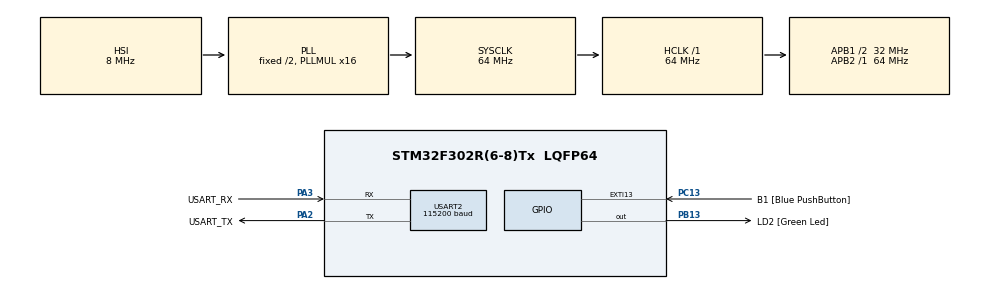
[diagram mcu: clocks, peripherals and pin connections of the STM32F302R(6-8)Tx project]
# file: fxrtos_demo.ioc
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ADC1.Channel-0\#ChannelRegularConversion=ADC_CHANNEL_TEMPSENSOR
ADC1.ContinuousConvMode=ENABLE
ADC1.NbrOfConversionFlag=1
ADC1.Offset-0\#ChannelRegularConversion=0
ADC1.OffsetNumber-0\#ChannelRegularConversion=ADC_OFFSET_NONE
ADC1.Rank-0\#ChannelRegularConversion=1
ADC1.SamplingTime-0\#ChannelRegularConversion=ADC_SAMPLETIME_19CYCLES_5
ADC1.SamplingTimeOPAMP-0\#ChannelRegularConversion=ADC_SAMPLETIME_61CYCLES_5
ADC1.SubFamily=STM32F302x8
ADC1.master=1
Mcu.Family=STM32F3
Mcu.Name=STM32F302R(6-8)Tx
Mcu.Package=LQFP64
NVIC.EXTI15_10_IRQn=true\:0\:0\:false\:false\:true\:true\:true\:true
NVIC.PriorityGroup=NVIC_PRIORITYGROUP_0
NVIC.TIM2_IRQn=true\:0\:0\:false\:false\:true\:true\:true\:true
PA13.GPIO_Label=TMS
PA13.Mode=Trace_Asynchronous_SW
PA13.Signal=SYS_JTMS-SWDIO
PA14.GPIO_Label=TCK
PA14.Mode=Trace_Asynchronous_SW
PA14.Signal=SYS_JTCK-SWCLK
PA2.GPIO_Label=USART_TX
PA2.GPIO_Mode=GPIO_MODE_AF_PP
PA2.GPIO_PuPd=GPIO_NOPULL
PA2.GPIO_Speed=GPIO_SPEED_FREQ_LOW
PA2.Mode=Asynchronous
PA2.Signal=USART2_TX
PA3.GPIO_Label=USART_RX
PA3.GPIO_Mode=GPIO_MODE_AF_PP
PA3.GPIO_PuPd=GPIO_NOPULL
PA3.GPIO_Speed=GPIO_SPEED_FREQ_LOW
PA3.Mode=Asynchronous
PA3.Signal=USART2_RX
PB13.GPIO_Label=LD2 [Green Led]
PB13.Signal=GPIO_Output
PB3.GPIO_Label=SWO
PB3.Mode=Trace_Asynchronous_SW
PB3.Signal=SYS_JTDO-TRACESWO
PC13.GPIO_Label=B1 [Blue PushButton]
PC13.GPIO_ModeDefaultEXTI=GPIO_MODE_IT_FALLING
PC13.Signal=GPXTI13
PC14\ -\ OSC32_IN.Mode=LSE-External-Oscillator
PC14\ -\ OSC32_IN.Signal=RCC_OSC32_IN
PC15\ -\ OSC32_OUT.Mode=LSE-External-Oscillator
PC15\ -\ OSC32_OUT.Signal=RCC_OSC32_OUT
PF0-OSC_IN.Mode=HSE-External-Clock-Source
PF0-OSC_IN.Signal=RCC_OSC_IN
PF1-OSC_OUT.Signal=RCC_OSC_OUT
ProjectManager.HeapSize=0x200
ProjectManager.StackSize=0x400
ProjectManager.TargetToolchain=STM32CubeIDE
RCC.AHBFreq_Value=64000000
RCC.APB1CLKDivider=RCC_HCLK_DIV2
RCC.APB1Freq_Value=32000000
RCC.APB1TimFreq_Value=64000000
RCC.APB2Freq_Value=64000000
RCC.APB2TimFreq_Value=64000000
RCC.CortexFreq_Value=64000000
RCC.HCLKFreq_Value=64000000
RCC.HSE_VALUE=8000000
RCC.HSI_VALUE=8000000
RCC.PLLM=8
RCC.PLLMUL=RCC_PLL_MUL16
RCC.PLLN=336
RCC.PLLP=RCC_PLLP_DIV4
RCC.PLLQ=7
RCC.RTCClockSelection=RCC_RTCCLKSOURCE_LSE
RCC.SYSCLKFreq_VALUE=64000000
RCC.SYSCLKSourceVirtual=RCC_SYSCLKSOURCE_PLLCLK
RCC.USBFreq_Value=64000000
RTC.Format=RTC_FORMAT_BIN
TIM2.Period=5000
TIM2.Prescaler=64000
USART2.BaudRate=115200
USART2.VirtualMode-Asynchronous=VM_ASYNC
VP_ADC1_TempSens_Input.Mode=IN-TempSens
VP_RTC_VS_RTC_Activate.Mode=RTC_Enabled
VP_RTC_VS_RTC_Calendar.Mode=RTC_Calendar
VP_TIM2_VS_ClockSourceINT.Mode=Internal
board=NUCLEO-F302R8

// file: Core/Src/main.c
/* USER CODE BEGIN Header */
/**
  ******************************************************************************
  * @file           : main.c
  * @brief          : Main program body
  ******************************************************************************
  * @attention
  *
  * Copyright (c) 2022 STMicroelectronics.
  * All rights reserved.
  *
  * This software is licensed under terms that can be found in the LICENSE file
  * in the root directory of this software component.
  * If no LICENSE file comes with this software, it is provided AS-IS.
  *
  ******************************************************************************
  */
/* USER CODE END Header */
#include "main.h"

/* USER CODE BEGIN Includes */
#include "stdio.h"
/* USER CODE END Includes */

/* USER CODE BEGIN PM */
int V25;
int Avg_Slope;
/* USER CODE END PM */

 ADC_HandleTypeDef hadc1;

RTC_HandleTypeDef hrtc;

TIM_HandleTypeDef htim2;

UART_HandleTypeDef huart2;

void SystemClock_Config(void);
static void MX_GPIO_Init(void);
static void MX_USART2_UART_Init(void);
static void MX_TIM2_Init(void);
static void MX_RTC_Init(void);
static void MX_ADC1_Init(void);

/* USER CODE BEGIN 0 */

void _MX_GPIO_Init(void)
{
	MX_GPIO_Init();
}

void _MX_TIM2_Init(void)
{
	MX_TIM2_Init();
}

void _MX_USART2_UART_Init(void)
{
	MX_USART2_UART_Init();
}

void temp_sens_init(void)
{
	MX_ADC1_Init();
	HAL_ADC_Start(&hadc1);
}
void date_time_init(void){
	MX_RTC_Init();
}

float get_temp(void)
{
	/*int V25 = 25;
	int Avg_Slope = 1;*/
	HAL_ADC_PollForConversion(&hadc1, 10000);
	uint16_t readval = HAL_ADC_GetValue(&hadc1);
//	(V25 - readval)/(Avg_Slope) + 25
	return readval/25;
}

RTC_TimeTypeDef* get_time(RTC_TimeTypeDef* time_hal){
	HAL_RTC_GetTime(&hrtc, time_hal, RTC_FORMAT_BIN);
	return time_hal;

}
RTC_DateTypeDef* get_date(RTC_DateTypeDef* date_hal){
	HAL_RTC_GetDate(&hrtc, date_hal, RTC_FORMAT_BIN);
	return date_hal;
}

void set_time(RTC_TimeTypeDef* time_hal){
	if (HAL_RTC_SetTime(&hrtc, time_hal, RTC_FORMAT_BIN) != HAL_OK){
	    Error_Handler();
	  }
}
void set_date(RTC_DateTypeDef* date_hal){
	  if (HAL_RTC_SetDate(&hrtc, &date_hal, RTC_FORMAT_BIN) != HAL_OK)
	  {
	    Error_Handler();
	  }
}

/* USER CODE END 0 */

void SystemClock_Config(void)
{
  RCC_OscInitTypeDef RCC_OscInitStruct = {0};
  RCC_ClkInitTypeDef RCC_ClkInitStruct = {0};
  RCC_PeriphCLKInitTypeDef PeriphClkInit = {0};

  /** Configure LSE Drive Capability
  */
  HAL_PWR_EnableBkUpAccess();
  __HAL_RCC_LSEDRIVE_CONFIG(RCC_LSEDRIVE_LOW);

  /** Initializes the RCC Oscillators according to the specified parameters
  * in the RCC_OscInitTypeDef structure.
  */
  RCC_OscInitStruct.OscillatorType = RCC_OSCILLATORTYPE_HSI|RCC_OSCILLATORTYPE_LSE;
  RCC_OscInitStruct.LSEState = RCC_LSE_ON;
  RCC_OscInitStruct.HSIState = RCC_HSI_ON;
  RCC_OscInitStruct.HSICalibrationValue = RCC_HSICALIBRATION_DEFAULT;
  RCC_OscInitStruct.PLL.PLLState = RCC_PLL_ON;
  RCC_OscInitStruct.PLL.PLLSource = RCC_PLLSOURCE_HSI;
  RCC_OscInitStruct.PLL.PLLMUL = RCC_PLL_MUL16;
  if (HAL_RCC_OscConfig(&RCC_OscInitStruct) != HAL_OK)
  {
    Error_Handler();
  }

  /** Initializes the CPU, AHB and APB buses clocks
  */
  RCC_ClkInitStruct.ClockType = RCC_CLOCKTYPE_HCLK|RCC_CLOCKTYPE_SYSCLK
                              |RCC_CLOCKTYPE_PCLK1|RCC_CLOCKTYPE_PCLK2;
  RCC_ClkInitStruct.SYSCLKSource = RCC_SYSCLKSOURCE_PLLCLK;
  RCC_ClkInitStruct.AHBCLKDivider = RCC_SYSCLK_DIV1;
  RCC_ClkInitStruct.APB1CLKDivider = RCC_HCLK_DIV2;
  RCC_ClkInitStruct.APB2CLKDivider = RCC_HCLK_DIV1;

  if (HAL_RCC_ClockConfig(&RCC_ClkInitStruct, FLASH_LATENCY_2) != HAL_OK)
  {
    Error_Handler();
  }
  PeriphClkInit.PeriphClockSelection = RCC_PERIPHCLK_RTC|RCC_PERIPHCLK_ADC1;
  PeriphClkInit.RTCClockSelection = RCC_RTCCLKSOURCE_LSE;
  PeriphClkInit.Adc1ClockSelection = RCC_ADC1PLLCLK_DIV1;

  if (HAL_RCCEx_PeriphCLKConfig(&PeriphClkInit) != HAL_OK)
  {
    Error_Handler();
  }
}

static void MX_ADC1_Init(void)
{

  ADC_ChannelConfTypeDef sConfig = {0};

  /** Common config
  */
  hadc1.Instance = ADC1;
  hadc1.Init.ClockPrescaler = ADC_CLOCK_ASYNC_DIV1;
  hadc1.Init.Resolution = ADC_RESOLUTION_12B;
  hadc1.Init.ScanConvMode = ADC_SCAN_DISABLE;
  hadc1.Init.ContinuousConvMode = ENABLE;
  hadc1.Init.DiscontinuousConvMode = DISABLE;
  hadc1.Init.ExternalTrigConvEdge = ADC_EXTERNALTRIGCONVEDGE_NONE;
  hadc1.Init.ExternalTrigConv = ADC_SOFTWARE_START;
  hadc1.Init.DataAlign = ADC_DATAALIGN_RIGHT;
  hadc1.Init.NbrOfConversion = 1;
  hadc1.Init.DMAContinuousRequests = DISABLE;
  hadc1.Init.EOCSelection = ADC_EOC_SINGLE_CONV;
  hadc1.Init.LowPowerAutoWait = DISABLE;
  hadc1.Init.Overrun = ADC_OVR_DATA_OVERWRITTEN;
  if (HAL_ADC_Init(&hadc1) != HAL_OK)
  {
    Error_Handler();
  }

  /** Configure Regular Channel
  */
  sConfig.Channel = ADC_CHANNEL_TEMPSENSOR;
  sConfig.Rank = ADC_REGULAR_RANK_1;
  sConfig.SingleDiff = ADC_SINGLE_ENDED;
  sConfig.SamplingTime = ADC_SAMPLETIME_19CYCLES_5;
  sConfig.OffsetNumber = ADC_OFFSET_NONE;
  sConfig.Offset = 0;
  if (HAL_ADC_ConfigChannel(&hadc1, &sConfig) != HAL_OK)
  {
    Error_Handler();
  }

}

static void MX_RTC_Init(void)
{

  RTC_TimeTypeDef sTime = {0};
  RTC_DateTypeDef sDate = {0};

  /** Initialize RTC Only
  */
  hrtc.Instance = RTC;
  hrtc.Init.HourFormat = RTC_HOURFORMAT_24;
  hrtc.Init.AsynchPrediv = 127;
  hrtc.Init.SynchPrediv = 255;
  hrtc.Init.OutPut = RTC_OUTPUT_DISABLE;
  hrtc.Init.OutPutPolarity = RTC_OUTPUT_POLARITY_HIGH;
  hrtc.Init.OutPutType = RTC_OUTPUT_TYPE_OPENDRAIN;
  if (HAL_RTC_Init(&hrtc) != HAL_OK)
  {
    Error_Handler();
  }

  /** Initialize RTC and set the Time and Date
  */
  sTime.Hours = 0;
  sTime.Minutes = 0;
  sTime.Seconds = 0;
  sTime.DayLightSaving = RTC_DAYLIGHTSAVING_NONE;
  sTime.StoreOperation = RTC_STOREOPERATION_RESET;
  if (HAL_RTC_SetTime(&hrtc, &sTime, RTC_FORMAT_BIN) != HAL_OK)
  {
    Error_Handler();
  }
  sDate.WeekDay = RTC_WEEKDAY_MONDAY;
  sDate.Month = RTC_MONTH_JANUARY;
  sDate.Date = 1;
  sDate.Year = 0;

  if (HAL_RTC_SetDate(&hrtc, &sDate, RTC_FORMAT_BIN) != HAL_OK)
  {
    Error_Handler();
  }

}

static void MX_TIM2_Init(void)
{

  TIM_ClockConfigTypeDef sClockSourceConfig = {0};
  TIM_MasterConfigTypeDef sMasterConfig = {0};

  htim2.Instance = TIM2;
  htim2.Init.Prescaler = 64000;
  htim2.Init.CounterMode = TIM_COUNTERMODE_UP;
  htim2.Init.Period = 5000;
  htim2.Init.ClockDivision = TIM_CLOCKDIVISION_DIV1;
  htim2.Init.AutoReloadPreload = TIM_AUTORELOAD_PRELOAD_DISABLE;
  if (HAL_TIM_Base_Init(&htim2) != HAL_OK)
  {
    Error_Handler();
  }
  sClockSourceConfig.ClockSource = TIM_CLOCKSOURCE_INTERNAL;
  if (HAL_TIM_ConfigClockSource(&htim2, &sClockSourceConfig) != HAL_OK)
  {
    Error_Handler();
  }
  sMasterConfig.MasterOutputTrigger = TIM_TRGO_RESET;
  sMasterConfig.MasterSlaveMode = TIM_MASTERSLAVEMODE_DISABLE;
  if (HAL_TIMEx_MasterConfigSynchronization(&htim2, &sMasterConfig) != HAL_OK)
  {
    Error_Handler();
  }

}

static void MX_USART2_UART_Init(void)
{

  huart2.Instance = USART2;
  huart2.Init.BaudRate = 115200;
  huart2.Init.WordLength = UART_WORDLENGTH_8B;
  huart2.Init.StopBits = UART_STOPBITS_1;
  huart2.Init.Parity = UART_PARITY_NONE;
  huart2.Init.Mode = UART_MODE_TX_RX;
  huart2.Init.HwFlowCtl = UART_HWCONTROL_NONE;
  huart2.Init.OverSampling = UART_OVERSAMPLING_16;
  huart2.Init.OneBitSampling = UART_ONE_BIT_SAMPLE_DISABLE;
  huart2.AdvancedInit.AdvFeatureInit = UART_ADVFEATURE_NO_INIT;
  if (HAL_UART_Init(&huart2) != HAL_OK)
  {
    Error_Handler();
  }

}

static void MX_GPIO_Init(void)
{
  GPIO_InitTypeDef GPIO_InitStruct = {0};

  /* GPIO Ports Clock Enable */
  __HAL_RCC_GPIOC_CLK_ENABLE();
  __HAL_RCC_GPIOF_CLK_ENABLE();
  __HAL_RCC_GPIOA_CLK_ENABLE();
  __HAL_RCC_GPIOB_CLK_ENABLE();

  /*Configure GPIO pin Output Level */
  HAL_GPIO_WritePin(LD2_GPIO_Port, LD2_Pin, GPIO_PIN_RESET);

  /*Configure GPIO pin : B1_Pin */
  GPIO_InitStruct.Pin = B1_Pin;
  GPIO_InitStruct.Mode = GPIO_MODE_IT_FALLING;
  GPIO_InitStruct.Pull = GPIO_NOPULL;
  HAL_GPIO_Init(B1_GPIO_Port, &GPIO_InitStruct);

  /*Configure GPIO pin : LD2_Pin */
  GPIO_InitStruct.Pin = LD2_Pin;
  GPIO_InitStruct.Mode = GPIO_MODE_OUTPUT_PP;
  GPIO_InitStruct.Pull = GPIO_NOPULL;
  GPIO_InitStruct.Speed = GPIO_SPEED_FREQ_LOW;
  HAL_GPIO_Init(LD2_GPIO_Port, &GPIO_InitStruct);

  /* EXTI interrupt init*/
  HAL_NVIC_SetPriority(EXTI15_10_IRQn, 0, 0);
  HAL_NVIC_EnableIRQ(EXTI15_10_IRQn);

}

void Error_Handler(void)
{
  __disable_irq();
  while (1)
  {
  }
}
